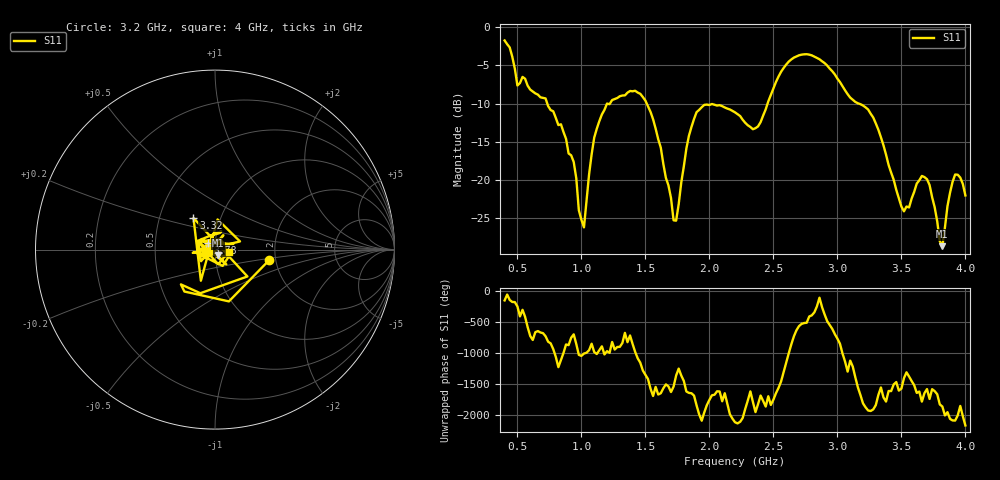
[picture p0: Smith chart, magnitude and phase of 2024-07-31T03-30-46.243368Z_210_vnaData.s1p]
!Created with skrf (http://scikit-rf.org).
# Hz S RI R 50.0
!freq ReS11 ImS11
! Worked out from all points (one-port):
!   181 points, 400 MHz to 4 GHz, reference 50 ohm
!   lowest |S11| = -28.7 dB at 3.82 GHz (marker M1), VSWR 1.08, Z = 51.6 - j3.38 ohm
!   |S11| at or under -10 dB: 733.4 MHz to 1.223 GHz (489.6 MHz wide, 50.1 % of centre); 1.511 GHz to 2.455 GHz (944 MHz wide, 47.6 % of centre); 3.167 GHz to end of sweep
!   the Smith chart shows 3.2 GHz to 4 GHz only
!   S11 on the Smith chart (normalised r, x): 3.2 GHz: 1.84, -0.24; 3.32 GHz: 0.74, +0.27; 3.78 GHz: 0.92, +0.07; 4 GHz: 1.17, -0.03
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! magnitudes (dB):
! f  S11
! 400 MHz  -1.7
! 500 MHz  -7.6
! 860 MHz  -13.7
! 940 MHz  -17.6
! 980 MHz  -24.0
! 1.02 GHz  -26.2
! 1.1 GHz  -14.5
! 1.3 GHz  -9.0
! 1.5 GHz  -9.6
! 1.62 GHz  -15.8
! 1.72 GHz  -25.3
! 1.76 GHz  -23.2
! 1.82 GHz  -15.9
! 1.9 GHz  -11.1
! 2.2 GHz  -11.1
! 2.38 GHz  -13.0
! 2.66 GHz  -4.0
! 2.86 GHz  -4.2
! 3.1 GHz  -9.2
! 3.2 GHz  -10.3
! 3.32 GHz  -13.4
! 3.5 GHz  -23.5
! 3.56 GHz  -23.6
! 3.68 GHz  -19.6
! 3.78 GHz  -25.4
! 3.82 GHz  -28.7
! 3.92 GHz  -19.3
! 4 GHz  -22.0
